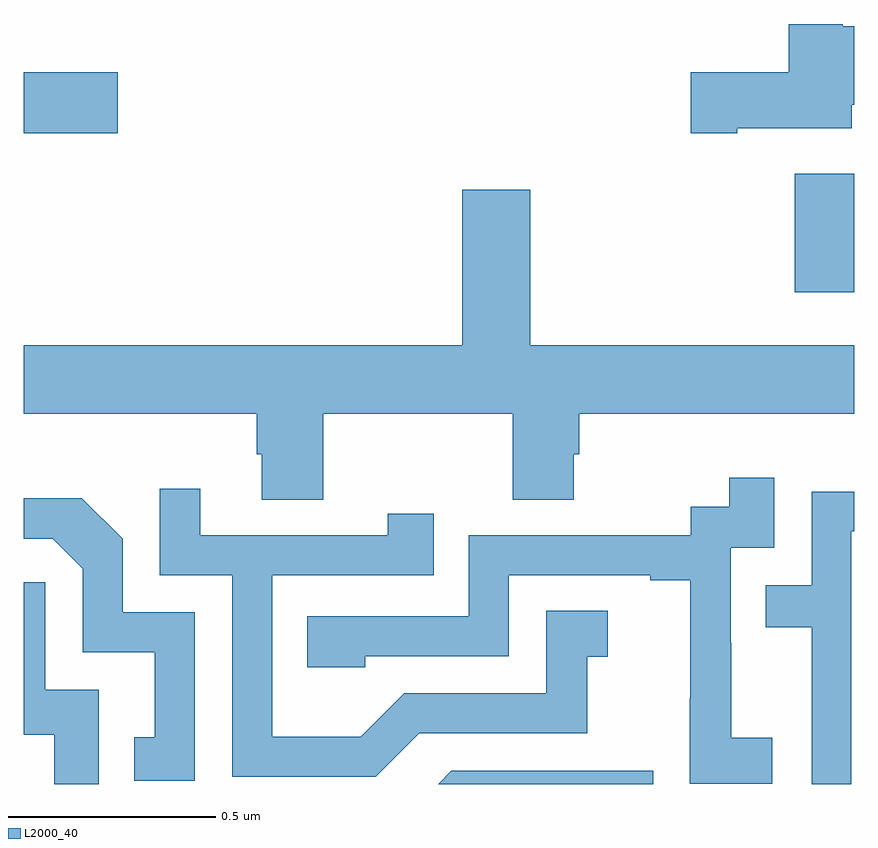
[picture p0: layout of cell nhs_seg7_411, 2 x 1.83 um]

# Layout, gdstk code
import gdstk
lib = gdstk.Library(unit=1e-6, precision=1e-09)
def R(c, l, rs):  # rectangles x0, y0, x1, y1
    for r in rs: c.add(gdstk.rectangle(r[:2], r[2:], *l))
def P(c, l, *ps):  # polygons
    for p in ps: c.add(gdstk.Polygon(p, *l))
L2000_40 = (2000, 40)

nhs_seg7_411 = lib.new_cell('nhs_seg7_411')
R(nhs_seg7_411, L2000_40, [(117.857,1058.184,118,1058.47), (116,1058.567,116.227,1058.714)])
P(nhs_seg7_411, L2000_40, [(117.718,1058.579),(117.994,1058.579),(117.994,1058.636),(118,1058.636),(118,1058.824),(117.972,1058.824),(117.972,1058.83),(117.842,1058.83),(117.842,1058.714),(117.606,1058.714),(117.606,1058.567),(117.718,1058.567)],
  [(116.721,1057.892),(117.178,1057.892),(117.178,1057.684),(117.325,1057.684),(117.325,1057.794),(117.338,1057.794),(117.338,1057.892),(118,1057.892),(118,1058.056),(117.22,1058.056),(117.22,1058.431),(117.056,1058.431),(117.056,1058.056),(116,1058.056),(116,1057.892),(116.561,1057.892),(116.561,1057.794),(116.573,1057.794),(116.573,1057.684),(116.721,1057.684)],
  [(117.802,1057.111),(117.704,1057.111),(117.704,1057.34),(117.702,1057.34),(117.702,1057.569),(117.807,1057.569),(117.807,1057.738),(117.699,1057.738),(117.699,1057.668),(117.606,1057.668),(117.606,1057.599),(117.072,1057.599),(117.072,1057.404),(116.683,1057.404),(116.683,1057.281),(116.823,1057.281),(116.823,1057.308),(117.168,1057.308),(117.168,1057.503),(117.509,1057.503),(117.509,1057.491),(117.605,1057.491),(117.605,1057.207),(117.604,1057.207),(117.604,1057.001),(117.802,1057.001)],
  [(116.953,1057.122),(117.357,1057.122),(117.357,1057.307),(117.406,1057.307),(117.406,1057.417),(117.258,1057.417),(117.258,1057.218),(116.916,1057.218),(116.812,1057.114),(116.598,1057.114),(116.598,1057.503),(116.987,1057.503),(116.987,1057.651),(116.876,1057.651),(116.876,1057.599),(116.425,1057.599),(116.425,1057.711),(116.328,1057.711),(116.328,1057.503),(116.502,1057.503),(116.502,1057.017),(116.848,1057.017)],
  [(117.993,1057.608),(118,1057.608),(118,1057.704),(117.897,1057.704),(117.897,1057.479),(117.787,1057.479),(117.787,1057.378),(117.897,1057.378),(117.897,1057),(117.993,1057)],
  [(116.412,1057.413),(116.238,1057.413),(116.238,1057.59),(116.14,1057.688),(116,1057.688),(116,1057.59),(116.07,1057.59),(116.142,1057.518),(116.142,1057.317),(116.315,1057.317),(116.315,1057.113),(116.266,1057.113),(116.266,1057.008),(116.412,1057.008)],
  [(116.181,1057.227),(116.052,1057.227),(116.052,1057.486),(116,1057.486),(116,1057.119),(116.073,1057.119),(116.073,1057),(116.181,1057)],
  [(117.516,1057.032),(117.03,1057.032),(116.998,1057),(117.516,1057)])

lib.write_gds('nhs_seg7_411.gds')
